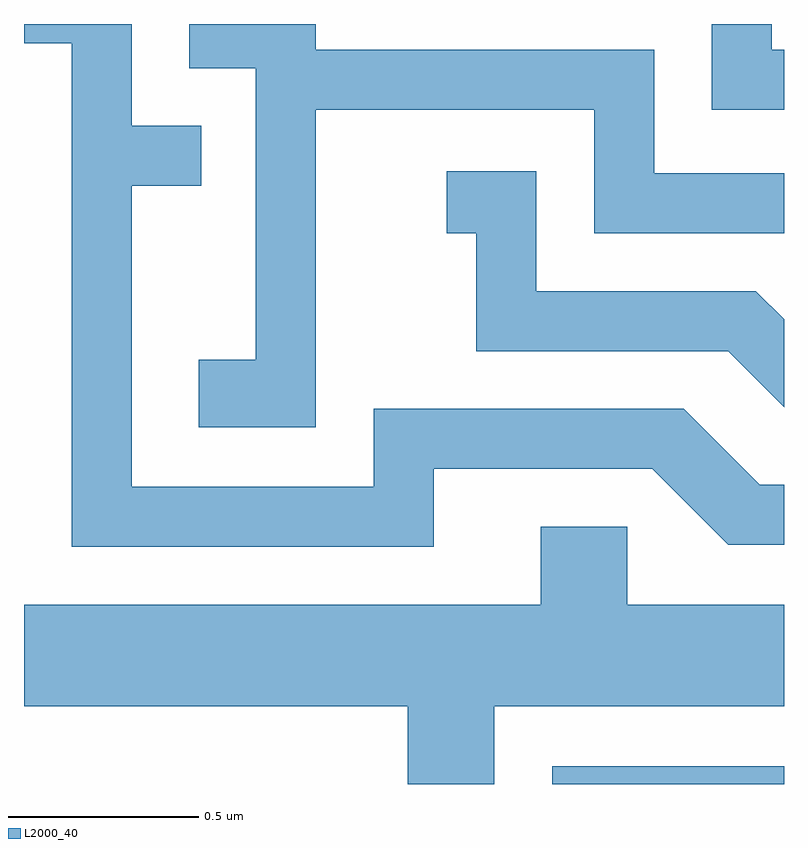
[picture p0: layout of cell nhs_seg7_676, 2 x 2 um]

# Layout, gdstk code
import gdstk
lib = gdstk.Library(unit=1e-6, precision=1e-09)
def R(c, l, rs):  # rectangles x0, y0, x1, y1
    for r in rs: c.add(gdstk.rectangle(r[:2], r[2:], *l))
def P(c, l, *ps):  # polygons
    for p in ps: c.add(gdstk.Polygon(p, *l))
L2000_40 = (2000, 40)

nhs_seg7_676 = lib.new_cell('nhs_seg7_676')
R(nhs_seg7_676, L2000_40, [(191.001,1796.252,191.611,1796.299)])
P(nhs_seg7_676, L2000_40, [(190.689,1797.081),(191.264,1797.081),(191.464,1796.881),(191.611,1796.881),(191.611,1797.039),(191.547,1797.039),(191.347,1797.239),(190.531,1797.239),(190.531,1797.034),(189.894,1797.034),(189.894,1797.826),(190.078,1797.826),(190.078,1797.984),(189.894,1797.984),(189.894,1798.252),(189.611,1798.252),(189.611,1798.201),(189.736,1798.201),(189.736,1796.876),(190.689,1796.876)],
  [(191.611,1798.184),(191.579,1798.184),(191.579,1798.252),(191.421,1798.252),(191.421,1798.026),(191.611,1798.026)],
  [(190.379,1798.026),(191.111,1798.026),(191.111,1797.701),(191.611,1797.701),(191.611,1797.859),(191.269,1797.859),(191.269,1798.184),(190.379,1798.184),(190.379,1798.252),(190.046,1798.252),(190.046,1798.136),(190.221,1798.136),(190.221,1797.369),(190.071,1797.369),(190.071,1797.191),(190.379,1797.191)],
  [(191.611,1797.475),(191.537,1797.549),(190.959,1797.549),(190.959,1797.864),(190.723,1797.864),(190.723,1797.701),(190.801,1797.701),(190.801,1797.391),(191.464,1797.391),(191.611,1797.244)],
  [(190.849,1796.456),(191.611,1796.456),(191.611,1796.724),(191.199,1796.724),(191.199,1796.929),(190.971,1796.929),(190.971,1796.724),(189.611,1796.724),(189.611,1796.456),(190.621,1796.456),(190.621,1796.252),(190.849,1796.252)])

lib.write_gds('nhs_seg7_676.gds')
